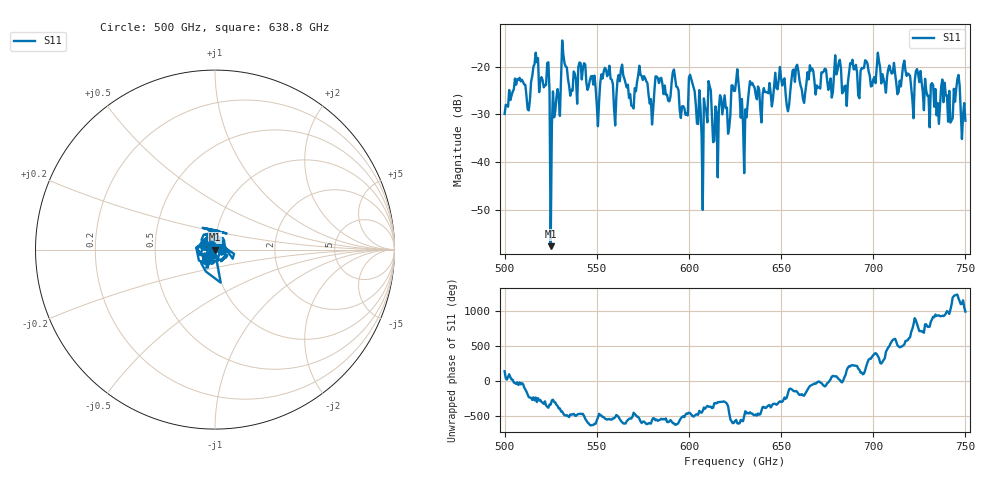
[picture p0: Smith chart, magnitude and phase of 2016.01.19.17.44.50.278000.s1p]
!Created with skrf (http://scikit-rf.org).
# GHz S RI R 50.0
!freq ReS11 ImS11
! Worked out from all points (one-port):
!   401 points, 500 GHz to 750 GHz, reference 50 ohm
!   lowest |S11| = -57.5 dB at 525 GHz (marker M1), VSWR 1.00, Z = 50.1 + j0.0396 ohm
!   |S11| at or under -10 dB: start of sweep to end of sweep
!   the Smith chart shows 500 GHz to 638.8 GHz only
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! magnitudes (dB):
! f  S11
! 500 GHz  -29.9
! 506.9 GHz  -22.7
! 513.1 GHz  -29.2
! 516.9 GHz  -17.1
! 523.1 GHz  -19.3
! 525 GHz  -57.5
! 526.2 GHz  -25.2
! 531.2 GHz  -14.6
! 550.6 GHz  -32.4
! 562.5 GHz  -23.1
! 568.8 GHz  -28.2
! 573.8 GHz  -21.8
! 579.4 GHz  -26.8
! 593.8 GHz  -24.3
! 598.1 GHz  -30.1
! 601.2 GHz  -22.6
! 606.2 GHz  -28.4
! 610.6 GHz  -23.0
! 614.4 GHz  -28.3
! 625 GHz  -25.1
! 630.6 GHz  -28.9
! 633.8 GHz  -23.8
! 656.2 GHz  -20.9
! 687.5 GHz  -19.3
! 718.8 GHz  -21.5
! 741.9 GHz  -31.7
! 745.6 GHz  -22.7
! 750 GHz  -31.3
